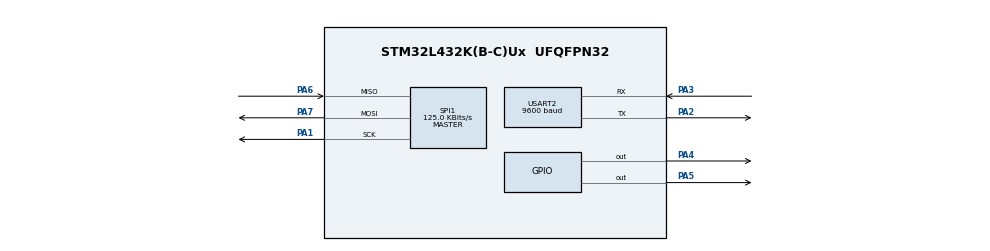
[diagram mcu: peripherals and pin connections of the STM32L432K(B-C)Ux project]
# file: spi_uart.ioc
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Mcu.Family=STM32L4
Mcu.Name=STM32L432K(B-C)Ux
Mcu.Package=UFQFPN32
NVIC.PriorityGroup=NVIC_PRIORITYGROUP_4
NVIC.RCC_IRQn=true\:0\:0\:false\:false\:true\:true
PA0.Mode=HSE-External-Clock-Source-for-LittleOrca
PA0.Signal=RCC_CK_IN
PA1.Mode=Full_Duplex_Master
PA1.Signal=SPI1_SCK
PA2.Mode=Asynchronous
PA2.Signal=USART2_TX
PA3.Mode=Asynchronous
PA3.Signal=USART2_RX
PA4.Signal=GPIO_Output
PA5.Signal=GPIO_Output
PA6.Mode=Full_Duplex_Master
PA6.Signal=SPI1_MISO
PA7.Mode=Full_Duplex_Master
PA7.Signal=SPI1_MOSI
ProjectManager.HeapSize=0x200
ProjectManager.StackSize=0x400
ProjectManager.TargetToolchain=MDK-ARM V5
RCC.HSE_VALUE=8000000
RCC.HSI48_VALUE=48000000
RCC.HSI_VALUE=16000000
RCC.LSE_VALUE=32768
RCC.MSI_VALUE=4000000
RCC.VCOOutputFreq_Value=32000000
SPI1.BaudRatePrescaler=SPI_BAUDRATEPRESCALER_32
SPI1.CLKPhase=SPI_PHASE_2EDGE
SPI1.CLKPolarity=SPI_POLARITY_HIGH
SPI1.CalculateBaudRate=125.0 KBits/s
SPI1.DataSize=SPI_DATASIZE_8BIT
SPI1.Direction=SPI_DIRECTION_2LINES
SPI1.Mode=SPI_MODE_MASTER
SPI1.VirtualType=VM_MASTER
USART2.BaudRate=9600
USART2.VirtualMode-Asynchronous=VM_ASYNC
USART2.WordLength=WORDLENGTH_8B
board=spi_uart

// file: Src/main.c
/**
  ******************************************************************************
  * File Name          : main.c
  * Description        : Main program body
  ******************************************************************************
  ** This notice applies to any and all portions of this file
  * that are not between comment pairs USER CODE BEGIN and
  * USER CODE END. Other portions of this file, whether
  * inserted by the user or by software development tools
  * are owned by their respective copyright owners.
  *
  * COPYRIGHT(c) 2018 STMicroelectronics
  *
  * Redistribution and use in source and binary forms, with or without modification,
  * are permitted provided that the following conditions are met:
  *   1. Redistributions of source code must retain the above copyright notice,
  *      this list of conditions and the following disclaimer.
  *   2. Redistributions in binary form must reproduce the above copyright notice,
  *      this list of conditions and the following disclaimer in the documentation
  *      and/or other materials provided with the distribution.
  *   3. Neither the name of STMicroelectronics nor the names of its contributors
  *      may be used to endorse or promote products derived from this software
  *      without specific prior written permission.
  *
  * THIS SOFTWARE IS PROVIDED BY THE COPYRIGHT HOLDERS AND CONTRIBUTORS "AS IS"
  * AND ANY EXPRESS OR IMPLIED WARRANTIES, INCLUDING, BUT NOT LIMITED TO, THE
  * IMPLIED WARRANTIES OF MERCHANTABILITY AND FITNESS FOR A PARTICULAR PURPOSE ARE
  * DISCLAIMED. IN NO EVENT SHALL THE COPYRIGHT HOLDER OR CONTRIBUTORS BE LIABLE
  * FOR ANY DIRECT, INDIRECT, INCIDENTAL, SPECIAL, EXEMPLARY, OR CONSEQUENTIAL
  * DAMAGES (INCLUDING, BUT NOT LIMITED TO, PROCUREMENT OF SUBSTITUTE GOODS OR
  * SERVICES; LOSS OF USE, DATA, OR PROFITS; OR BUSINESS INTERRUPTION) HOWEVER
  * CAUSED AND ON ANY THEORY OF LIABILITY, WHETHER IN CONTRACT, STRICT LIABILITY,
  * OR TORT (INCLUDING NEGLIGENCE OR OTHERWISE) ARISING IN ANY WAY OUT OF THE USE
  * OF THIS SOFTWARE, EVEN IF ADVISED OF THE POSSIBILITY OF SUCH DAMAGE.
  *
  ******************************************************************************
  */

#include "main.h"
#include "stm32l4xx_hal.h"

SPI_HandleTypeDef hspi1;

UART_HandleTypeDef huart2;

/* USER CODE BEGIN PV */
/* Private variables ---------------------------------------------------------*/

/** \brief Variables SPI
 */

uint8_t bufftx[10] = "Hello!!\n\r";
uint8_t spiData[2];
char POWER_CTL = 0x2D;  /**< Power Control Register*/
char DATA_FORMAT = 0x31;
char DATAX0 = 0x32; /**< X-Axis Data 0*/
char DATAX1 = 0x33; /**< X-Axis Data 1*/
char DATAY0 = 0x34; /**< Y-Axis Data 0*/
char DATAY1 = 0x35; /**< Y-Axis Data 1*/
char DATAZ0 = 0x36; /**< Z-Axis Data 0*/
char DATAZ1 = 0x37; /**< Z-Axis Data 1*/
char values[10];    /**< This buffer will array_joy_xhold values read from the ADXL345 registers.*/

/** \brief Variables para el almacenamiento de los valores
 */

#define N 10					//Tamaсo del buffer de datos
#define D 3						//Datos guardados Joy Stick(X,Y), Pie(X)

int mx[D][N];

/* USER CODE END PV */

void SystemClock_Config(void);
static void MX_GPIO_Init(void);
static void MX_USART2_UART_Init(void);
static void MX_SPI1_Init(void);

/* USER CODE BEGIN PFP */
/* Private function prototypes -----------------------------------------------*/

#ifdef __GNUC__
	#define PUTCHAR_PROTOTYPE int __io_putchar(int ch)
#else
	#define PUTCHAR_PROTOTYPE int fputc(int ch, FILE *f)
#endif /* __GNUC__ */

/* USER CODE END PFP */

/* USER CODE BEGIN 0 */

PUTCHAR_PROTOTYPE
{

  HAL_UART_Transmit(&huart2, (uint8_t *)&ch, 1, 0xFFFF);
  return ch;
}

/** \brief Configura los dispositivos adxl
 *
 *
 * \param uint_16 CS dispositivo seleccionado
 * \return devuelve un int con el valor leido
 */
void init_SPI(uint16_t CS){

	HAL_GPIO_WritePin(GPIOA,CS,GPIO_PIN_SET);
	HAL_Delay(10);

	//Write operation
	HAL_GPIO_WritePin(GPIOA,CS,GPIO_PIN_RESET);
	spiData[0] = DATA_FORMAT;
	spiData[1] = 0x01;
	HAL_SPI_Transmit(&hspi1,spiData,2,10);
	HAL_GPIO_WritePin(GPIOA,CS,GPIO_PIN_SET);

	//Write operation
	HAL_GPIO_WritePin(GPIOA,CS,GPIO_PIN_RESET);
	spiData[0] = POWER_CTL;
	spiData[1] = 0x08;
	HAL_SPI_Transmit(&hspi1,spiData,2,10);
	HAL_GPIO_WritePin(GPIOA,CS,GPIO_PIN_SET);
	HAL_Delay(10);

}
	/** \brief Lee el dato que se encuentra en la posicion de memoria que especifiacmos
 *
 *
 * \param char address
 					char DATAX0 = 0x32;
					char DATAX1 = 0x33;
					char DATAY0 = 0x34;
					char DATAY1 = 0x35;
					char DATAZ0 = 0x36;
					char DATAZ1 = 0x37;
 * \param uint_16 CS dispositivo seleccionado
 * \return devuelve un int con el valor leido
 */
int spi_read(char address, uint16_t CS){
	uint8_t spiData1[2];

	spiData1[0] = 0x80 | address;

	HAL_GPIO_WritePin(GPIOA,CS,GPIO_PIN_RESET);

	HAL_SPI_Transmit(&hspi1,spiData1,1,10);
	HAL_SPI_Receive(&hspi1,&spiData1[1],1,100);
	HAL_GPIO_WritePin(GPIOA,CS,GPIO_PIN_SET);

	//printf("DATAX0 = %d\t\t",spiData1[1]);

	return spiData1[1];
}
/** \brief Lee los seis datos que envia el adxl345
 *
 *
 * \param uint_16 CS dispositivo seleccionado
 * \return devuelve un int con el valor leido
 */
void adxl_read(uint16_t CS, int pos[]){
	int values[6];
	for(int i=0;i<6;i++){
		values[i]= spi_read(DATAX0+i,CS);
		//printf("%x\t",values[i]);
	}

	int pos_16[3];
	pos_16[0] = (values[1] << 8) | values[0];  //< The X value is stored in values[0] and values[1].*/
  pos_16[1] = ((int)values[3] << 8) | (int)values[2];  //< The Y value is stored in values[2] and values[3].*/
  pos_16[2] = ((int)values[5] << 8) | (int)values[4];  //< The Z value is stored in values[4] and values[5].*/

	pos[0] = -entero16_to32(pos_16[0]);
	pos[1] = -entero16_to32(pos_16[1]);
	pos[2] = entero16_to32(pos_16[2]);

	for(int i=0;i<3;i++){
		//printf("%4d\t",pos[i]);
	}

}
/** \brief Convierte un numero en complemento a 2 de 16 bits en uno de 32, en el caso de que el bit numero 15 se 1
 *					completaremos los proximos 16 bits con ffff de esta manera extenderemos el signo.
 *
 *
 * \param uint_16 CS dispositivo seleccionado
 * \return devuelve un int con el valor leido
 */

int entero16_to32(int c){

			int sol;

    if((0x00008000&c) == 0x00008000){
        //printf("Se detecto numero negativo\n\r");
        sol = 0xFFFF0000|c;

    }
    //printf("%x\t%d\n\r",c,c);
    return sol;

}

void add_value(int *p,int x){

    for(int i=N-1; i>=0; i--){       //IMPOTANTE
        *(p+i) = *(p+i-1);
    }
    *p =  x;
}

 /** \brief Necesario para ejecutar QSORT y poder ordenar el vector
  */
int cmp (const void * a, const void * b) {
   return ( *(int*)a - *(int*)b );
}
void media_min_max(int x[][N],int c, int sol[]){

    int aux_v[N];
    for(int i=0;i<D;i++){                   //Pasamos una fila de la matriz a un vector auxiliar
        for(int j=0;j<N;j++){
            aux_v[j]=x[i][j];
        }

        qsort(aux_v,N,sizeof(aux_v[0]),cmp);    //Ordenamos el vector auxiliar
        int sum=0;
        for(int k=c; k<N-c; k++){             //Sumamos todos los componentes del vector sin contar los max o min
            sum += aux_v[k];                //en funcion del c que es la cantidad de numeros que excluimos
        }
        sol[i] = sum/(N-(2*c));
    }
}

void estabilizador(int mx[][N],int input[], int output[],int excluir){

      for(int i=0;i<D;i++)                      //A?adimos los valores leidos al la primera columna de la matriz
            add_value(&mx[i][0],input[i]);

        media_min_max(mx,excluir,output);

  }

int selector_pie(int x){
	const int npp=4;
	static int max_pie;
	static int min_pie = 100;
	static int paso_pie;
	int sol;
	if(x<min_pie || x>max_pie){

		if(x<min_pie)
			min_pie = x;
		if(x>max_pie)
			max_pie = x;

        if(max_pie == min_pie)
            paso_pie = 100;
        else
            paso_pie = (max_pie-min_pie)/npp;

        //scanf("%s", str1);
	}
	printf("Dato = %3d   Paso = %3d      maximo = %3d     minimo = %3d",x,paso_pie,max_pie,min_pie);
    sol = (x-min_pie)/paso_pie;
    printf("    Posicion = %3d\n",sol);

	return sol;
}

int selector_joy(int x,int y){
	const int npp=3;
	static int max_joy[2];
	static int min_joy[2] = {100,100};
	static int paso_joy[2];
	int sx,sy;
	int sol;

	if(x<min_joy[0] || x>max_joy[0]){

		if(x<min_joy[0])
			min_joy[0] = x;
		if(x>max_joy[0])
			max_joy[0] = x;

        if(max_joy[0] == min_joy[0])
            paso_joy[0] = 100;
        else
            paso_joy[0] = (max_joy[0]-min_joy[0])/npp;

        //scanf("%s", str1);
	}
	sx = (x-min_joy[0])/paso_joy[0];

		if(y<min_joy[1] || y>max_joy[1]){

		if(y<min_joy[1])
			min_joy[1] = y;
		if(y>max_joy[1])
			max_joy[1] = y;

        if(max_joy[1] == min_joy[1])
            paso_joy[1] = 100;
        else
            paso_joy[1] = (max_joy[1]-min_joy[1])/npp;

        //scanf("%s", str1);
	}

    sy = (y-min_joy[1])/paso_joy[1];

	printf("Dato X= %3d   seleccion en X = %3d      ",x,sx);
	printf("Dato Y= %3d   seleccion en Y = %3d      ",y,sy);

	sol = sx+3*sy;

	printf("Posicion del joyStick = %d      \n\r",sol);

	return sol;
}

void greeting(){
	printf("\fStarting");
	for(int i = 0; i < 10; i++){
		printf(".");
		HAL_Delay(200);
	}
	printf("Done\n\r");
}

/* USER CODE END 0 */

int main(void)
{

  /* MCU Configuration----------------------------------------------------------*/

  /* Reset of all peripherals, Initializes the Flash interface and the Systick. */
  HAL_Init();

  /* Configure the system clock */
  SystemClock_Config();

  /* Initialize all configured peripherals */
  MX_GPIO_Init();
  MX_USART2_UART_Init();
  MX_SPI1_Init();

  /* USER CODE BEGIN 2 */

	init_SPI(GPIO_PIN_4);
	init_SPI(GPIO_PIN_5);

	int out_adxl[3];
	int adxl_fitrada[3];

	greeting();

  /* USER CODE END 2 */

  /* Infinite loop */
  while (1)
  {

  /* USER CODE BEGIN 3 */
		//lectura_SPI();
		printf("GPIO_PIN_4\t");
		adxl_read(GPIO_PIN_4,out_adxl);

		//printf("\tGPIO_PIN_5\t");
		//adxl_read(GPIO_PIN_5,out_adxl);

		//printf("\n\r");

		estabilizador(mx,out_adxl,adxl_fitrada,2);
		for(int i = 0; i<3; i++){
			printf("%4d\t",adxl_fitrada[i]);
		}
		printf("\n\r");

		//selector_joy(adxl_fitrada[0],adxl_fitrada[1]);
		//selector_pie(adxl_fitrada[0]);

#ifdef DEPURACION
		for(int i=0;i<D;i++){
			for(int j=0;j<N;j++){
				printf("%3d\t",mx[i][j]);
			}
			printf("\t\tMedia = %d\n\r",pos_1[i]);
		}
		printf("\n\n\n\n\n\n\n\n\n\n\n\n\n\n\n\n\r");

#endif

		HAL_Delay(100);

  }
  /* USER CODE END 3 */

}

/** System Clock Configuration
*/
void SystemClock_Config(void)
{

  RCC_OscInitTypeDef RCC_OscInitStruct;
  RCC_ClkInitTypeDef RCC_ClkInitStruct;
  RCC_PeriphCLKInitTypeDef PeriphClkInit;

    /**Initializes the CPU, AHB and APB busses clocks
    */
  RCC_OscInitStruct.OscillatorType = RCC_OSCILLATORTYPE_MSI;
  RCC_OscInitStruct.MSIState = RCC_MSI_ON;
  RCC_OscInitStruct.MSICalibrationValue = 0;
  RCC_OscInitStruct.MSIClockRange = RCC_MSIRANGE_6;
  RCC_OscInitStruct.PLL.PLLState = RCC_PLL_NONE;
  if (HAL_RCC_OscConfig(&RCC_OscInitStruct) != HAL_OK)
  {
    _Error_Handler(__FILE__, __LINE__);
  }

    /**Initializes the CPU, AHB and APB busses clocks
    */
  RCC_ClkInitStruct.ClockType = RCC_CLOCKTYPE_HCLK|RCC_CLOCKTYPE_SYSCLK
                              |RCC_CLOCKTYPE_PCLK1|RCC_CLOCKTYPE_PCLK2;
  RCC_ClkInitStruct.SYSCLKSource = RCC_SYSCLKSOURCE_MSI;
  RCC_ClkInitStruct.AHBCLKDivider = RCC_SYSCLK_DIV1;
  RCC_ClkInitStruct.APB1CLKDivider = RCC_HCLK_DIV1;
  RCC_ClkInitStruct.APB2CLKDivider = RCC_HCLK_DIV1;

  if (HAL_RCC_ClockConfig(&RCC_ClkInitStruct, FLASH_LATENCY_0) != HAL_OK)
  {
    _Error_Handler(__FILE__, __LINE__);
  }

  PeriphClkInit.PeriphClockSelection = RCC_PERIPHCLK_USART2;
  PeriphClkInit.Usart2ClockSelection = RCC_USART2CLKSOURCE_PCLK1;
  if (HAL_RCCEx_PeriphCLKConfig(&PeriphClkInit) != HAL_OK)
  {
    _Error_Handler(__FILE__, __LINE__);
  }

    /**Configure the main internal regulator output voltage
    */
  if (HAL_PWREx_ControlVoltageScaling(PWR_REGULATOR_VOLTAGE_SCALE1) != HAL_OK)
  {
    _Error_Handler(__FILE__, __LINE__);
  }

    /**Configure the Systick interrupt time
    */
  HAL_SYSTICK_Config(HAL_RCC_GetHCLKFreq()/1000);

    /**Configure the Systick
    */
  HAL_SYSTICK_CLKSourceConfig(SYSTICK_CLKSOURCE_HCLK);

  /* SysTick_IRQn interrupt configuration */
  HAL_NVIC_SetPriority(SysTick_IRQn, 0, 0);
}

/* SPI1 init function */
static void MX_SPI1_Init(void)
{

  /* SPI1 parameter configuration*/
  hspi1.Instance = SPI1;
  hspi1.Init.Mode = SPI_MODE_MASTER;
  hspi1.Init.Direction = SPI_DIRECTION_2LINES;
  hspi1.Init.DataSize = SPI_DATASIZE_8BIT;
  hspi1.Init.CLKPolarity = SPI_POLARITY_HIGH;
  hspi1.Init.CLKPhase = SPI_PHASE_2EDGE;
  hspi1.Init.NSS = SPI_NSS_SOFT;
  hspi1.Init.BaudRatePrescaler = SPI_BAUDRATEPRESCALER_32;
  hspi1.Init.FirstBit = SPI_FIRSTBIT_MSB;
  hspi1.Init.TIMode = SPI_TIMODE_DISABLE;
  hspi1.Init.CRCCalculation = SPI_CRCCALCULATION_DISABLE;
  hspi1.Init.CRCPolynomial = 7;
  hspi1.Init.CRCLength = SPI_CRC_LENGTH_DATASIZE;
  hspi1.Init.NSSPMode = SPI_NSS_PULSE_DISABLE;
  if (HAL_SPI_Init(&hspi1) != HAL_OK)
  {
    _Error_Handler(__FILE__, __LINE__);
  }

}

/* USART2 init function */
static void MX_USART2_UART_Init(void)
{

  huart2.Instance = USART2;
  huart2.Init.BaudRate = 9600;
  huart2.Init.WordLength = UART_WORDLENGTH_8B;
  huart2.Init.StopBits = UART_STOPBITS_1;
  huart2.Init.Parity = UART_PARITY_NONE;
  huart2.Init.Mode = UART_MODE_TX_RX;
  huart2.Init.HwFlowCtl = UART_HWCONTROL_NONE;
  huart2.Init.OverSampling = UART_OVERSAMPLING_16;
  huart2.Init.OneBitSampling = UART_ONE_BIT_SAMPLE_DISABLE;
  huart2.AdvancedInit.AdvFeatureInit = UART_ADVFEATURE_NO_INIT;
  if (HAL_UART_Init(&huart2) != HAL_OK)
  {
    _Error_Handler(__FILE__, __LINE__);
  }

}

/** Configure pins as
        * Analog
        * Input
        * Output
        * EVENT_OUT
        * EXTI
*/
static void MX_GPIO_Init(void)
{

  GPIO_InitTypeDef GPIO_InitStruct;

  /* GPIO Ports Clock Enable */
  __HAL_RCC_GPIOA_CLK_ENABLE();

  /*Configure GPIO pin Output Level */
  HAL_GPIO_WritePin(GPIOA, GPIO_PIN_4|GPIO_PIN_5, GPIO_PIN_RESET);

  /*Configure GPIO pins : PA4 PA5 */
  GPIO_InitStruct.Pin = GPIO_PIN_4|GPIO_PIN_5;
  GPIO_InitStruct.Mode = GPIO_MODE_OUTPUT_PP;
  GPIO_InitStruct.Pull = GPIO_NOPULL;
  GPIO_InitStruct.Speed = GPIO_SPEED_FREQ_LOW;
  HAL_GPIO_Init(GPIOA, &GPIO_InitStruct);

}

void _Error_Handler(char * file, int line)
{
  while(1)
  {
  }
}

/************************ (C) COPYRIGHT STMicroelectronics *****END OF FILE****/
